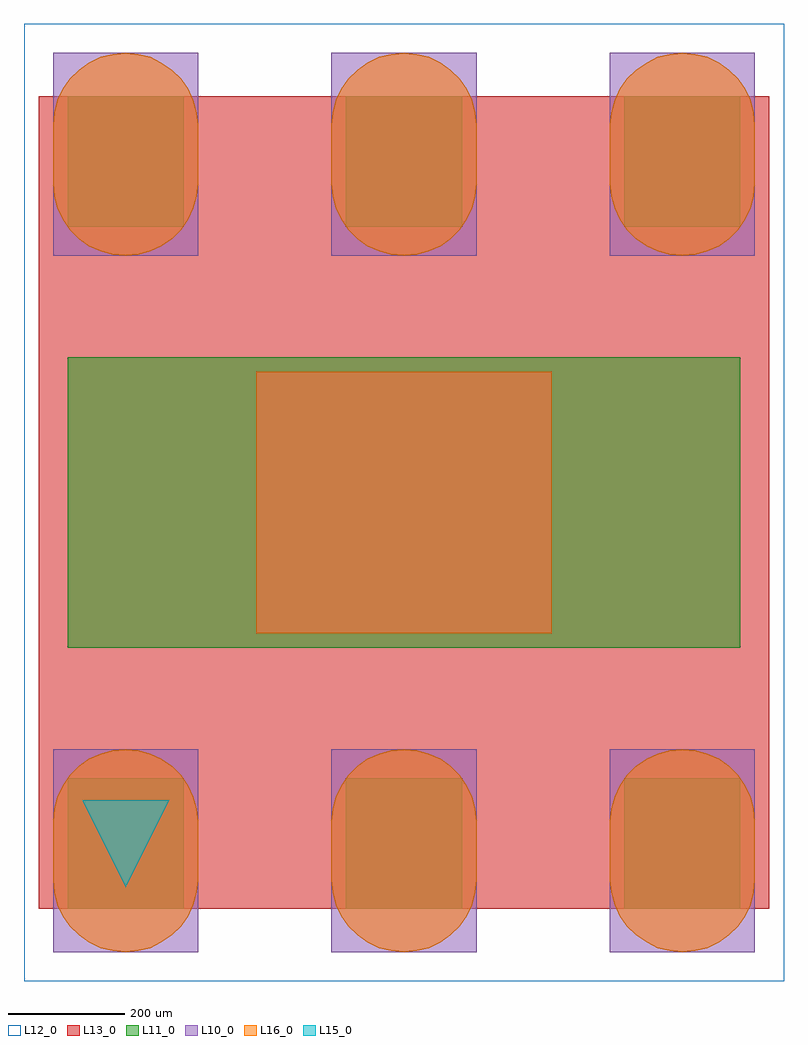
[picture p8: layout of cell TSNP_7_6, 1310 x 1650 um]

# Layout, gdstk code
import gdstk
lib = gdstk.Library(unit=1e-6, precision=1e-09)
def R(c, l, rs):  # rectangles x0, y0, x1, y1
    for r in rs: c.add(gdstk.rectangle(r[:2], r[2:], *l))
def A(c, l, x, y, w, h, nx, ny, dx, dy):  # array of equal rectangles
    R(c, l, [(x+i*dx, y+j*dy, x+i*dx+w, y+j*dy+h) for i in range(nx) for j in range(ny)])
def P(c, l, *ps):  # polygons
    for p in ps: c.add(gdstk.Polygon(p, *l))
L10_0 = (10, 0)
L11_0 = (11, 0)
L12_0 = (12, 0)
L13_0 = (13, 0)
L15_0 = (15, 0)
L16_0 = (16, 0)

tsnp_7_6 = lib.new_cell('TSNP_7_6')
A(tsnp_7_6, L10_0, -605, -775, 250, 350, 3, 2, 480, 1200)
R(tsnp_7_6, L10_0, [(-255,-225,255,225)])
A(tsnp_7_6, L11_0, -580, -700, 200, 225, 3, 2, 480, 1175)
R(tsnp_7_6, L11_0, [(-580,-250,580,250)])
R(tsnp_7_6, L12_0, [(-655,-825,655,825)])
R(tsnp_7_6, L13_0, [(-630,-700,630,700)])
P(tsnp_7_6, L15_0, [(-480,-663),(-555,-513),(-405,-513)])
R(tsnp_7_6, L16_0, [(-255,-225,255,225)])
P(tsnp_7_6, L16_0, [(-80,-746),(-63,-758),(-43,-768),(-22,-773),(0,-775),(22,-773),(43,-768),(63,-758),(80,-746),(96,-730),(108,-713),(118,-693),(123,-672),(125,-650),(125,-550),(123,-528),(118,-507),(108,-488),(96,-470),(80,-454),(63,-442),(43,-433),(22,-427),(0,-425),(-22,-427),(-43,-433),(-63,-442),(-80,-454),(-96,-470),(-108,-488),(-118,-507),(-123,-528),(-125,-550),(-125,-650),(-123,-672),(-118,-693),(-108,-713),(-96,-730)],
  [(400,-746),(418,-758),(437,-768),(458,-773),(480,-775),(502,-773),(523,-768),(543,-758),(560,-746),(576,-730),(588,-713),(598,-693),(603,-672),(605,-650),(605,-550),(603,-528),(598,-507),(588,-488),(576,-470),(560,-454),(543,-442),(523,-433),(502,-427),(480,-425),(458,-427),(437,-433),(418,-442),(400,-454),(384,-470),(372,-488),(363,-507),(357,-528),(355,-550),(355,-650),(357,-672),(363,-693),(372,-713),(384,-730)],
  [(400,454),(418,442),(437,433),(458,427),(480,425),(502,427),(523,433),(543,442),(560,454),(576,470),(588,488),(598,507),(603,528),(605,550),(605,650),(603,672),(598,693),(588,713),(576,730),(560,746),(543,758),(523,768),(502,773),(480,775),(458,773),(437,768),(418,758),(400,746),(384,730),(372,713),(363,693),(357,672),(355,650),(355,550),(357,528),(363,507),(372,488),(384,470)],
  [(-560,-746),(-543,-758),(-523,-768),(-502,-773),(-480,-775),(-458,-773),(-437,-768),(-418,-758),(-400,-746),(-384,-730),(-372,-713),(-363,-693),(-357,-672),(-355,-650),(-355,-550),(-357,-528),(-363,-507),(-372,-488),(-384,-470),(-400,-454),(-418,-442),(-437,-433),(-458,-427),(-480,-425),(-502,-427),(-523,-433),(-543,-442),(-560,-454),(-576,-470),(-588,-488),(-598,-507),(-603,-528),(-605,-550),(-605,-650),(-603,-672),(-598,-693),(-588,-713),(-576,-730)],
  [(-80,454),(-63,442),(-43,433),(-22,427),(0,425),(22,427),(43,433),(63,442),(80,454),(96,470),(108,488),(118,507),(123,528),(125,550),(125,650),(123,672),(118,693),(108,713),(96,730),(80,746),(63,758),(43,768),(22,773),(0,775),(-22,773),(-43,768),(-63,758),(-80,746),(-96,730),(-108,713),(-118,693),(-123,672),(-125,650),(-125,550),(-123,528),(-118,507),(-108,488),(-96,470)],
  [(-560,454),(-543,442),(-523,433),(-502,427),(-480,425),(-458,427),(-437,433),(-418,442),(-400,454),(-384,470),(-372,488),(-363,507),(-357,528),(-355,550),(-355,650),(-357,672),(-363,693),(-372,713),(-384,730),(-400,746),(-418,758),(-437,768),(-458,773),(-480,775),(-502,773),(-523,768),(-543,758),(-560,746),(-576,730),(-588,713),(-598,693),(-603,672),(-605,650),(-605,550),(-603,528),(-598,507),(-588,488),(-576,470)])

lib.write_gds('TSNP_7_6.gds')
